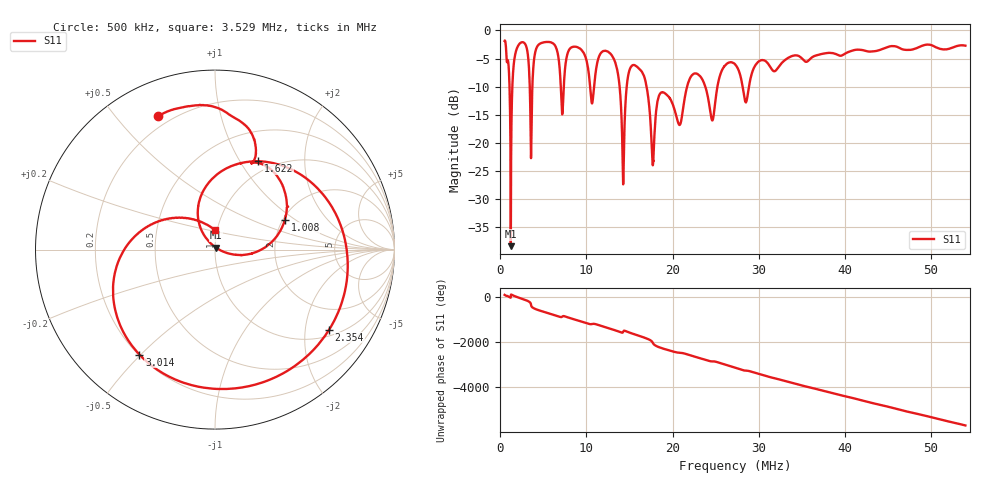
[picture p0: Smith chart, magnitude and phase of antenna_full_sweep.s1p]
! Two-sweep complex average, JYR8010 choked installation
# Hz S RI R 50
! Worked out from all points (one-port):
!   40001 points, 500 kHz to 54 MHz, reference 50 ohm
!   lowest |S11| = -38.3 dB at 1.221 MHz (marker M1), VSWR 1.02, Z = 50.7 + j1.03 ohm
!   |S11| at or under -10 dB: 13.85 MHz to 14.67 MHz (820.4 kHz wide, 5.75 % of centre); 16.99 MHz to 21.68 MHz (4.697 MHz wide, 24.3 % of centre); 23.81 MHz to 25.2 MHz (1.399 MHz wide, 5.71 % of centre)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
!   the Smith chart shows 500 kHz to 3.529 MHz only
!   S11 on the Smith chart (normalised r, x): 500 kHz: 0.15, +0.65; 1.008 MHz: 2.05, +0.83; 1.622 MHz: 0.85, +1.20; 2.354 MHz: 1.20, -2.69; 3.014 MHz: 0.20, -0.49; 3.529 MHz: 0.97, +0.22
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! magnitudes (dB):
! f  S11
! 500 kHz  -1.9
! 1.008 MHz  -7.5
! 1.221 MHz  -38.3
! 1.622 MHz  -5.2
! 2.354 MHz  -2.2
! 3.014 MHz  -2.8
! 3.529 MHz  -19.1
! 5.197 MHz  -2.1
! 6.493 MHz  -3.1
! 7.188 MHz  -14.9
! 8.617 MHz  -2.9
! 10.63 MHz  -12.9
! 12.13 MHz  -3.6
! 13.88 MHz  -10.4
! 14.26 MHz  -27.2
! 15.42 MHz  -6.1
! 16.82 MHz  -8.8
! 17.69 MHz  -23.9
! 18.63 MHz  -11.1
! 20.56 MHz  -15.9
! 22.32 MHz  -7.8
! 24.61 MHz  -16.0
! 27.25 MHz  -6.0
! 28.51 MHz  -12.8
! 33.94 MHz  -4.5
! 40.62 MHz  -3.7
! 47.31 MHz  -3.5
! 54 MHz  -2.7
